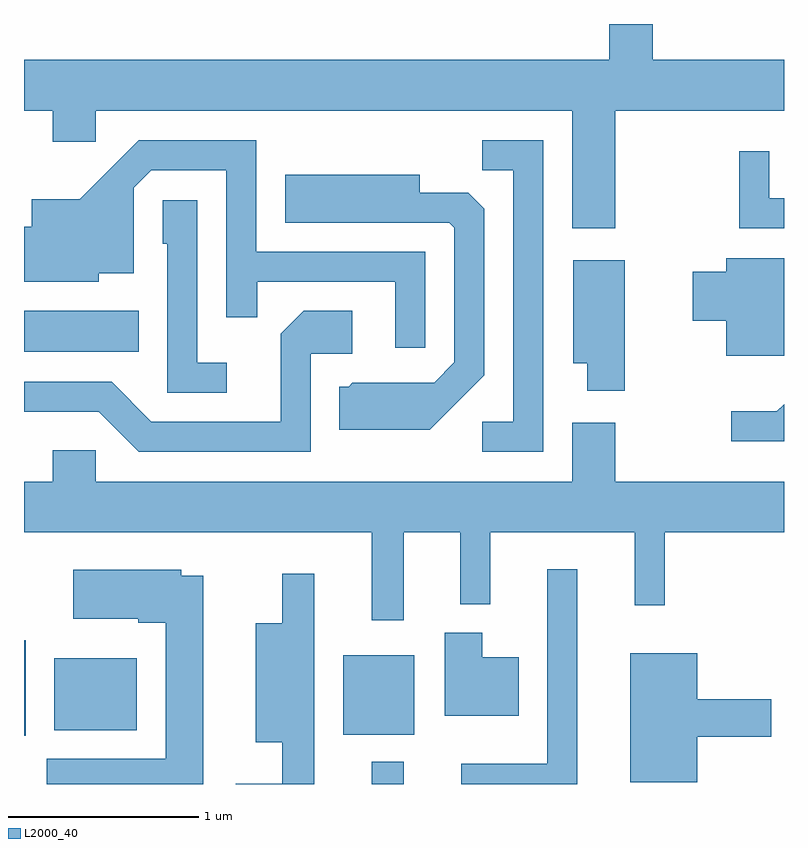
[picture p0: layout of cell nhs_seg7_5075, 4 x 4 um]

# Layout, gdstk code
import gdstk
lib = gdstk.Library(unit=1e-6, precision=1e-09)
def R(c, l, rs):  # rectangles x0, y0, x1, y1
    for r in rs: c.add(gdstk.rectangle(r[:2], r[2:], *l))
def P(c, l, *ps):  # polygons
    for p in ps: c.add(gdstk.Polygon(p, *l))
L2000_40 = (2000, 40)

nhs_seg7_5075 = lib.new_cell('nhs_seg7_5075')
R(nhs_seg7_5075, L2000_40, [(341.441,1786.252,341.609,1786.368), (339.611,1786.506,339.619,1787.009), (341.291,1786.511,341.664,1786.929), (339.771,1786.536,340.204,1786.914), (339.611,1788.526,340.214,1788.744)])
P(nhs_seg7_5075, L2000_40, [(342.724,1789.796),(343.611,1789.796),(343.611,1790.064),(342.919,1790.064),(342.919,1790.252),(342.691,1790.252),(342.691,1790.064),(339.611,1790.064),(339.611,1789.796),(339.761,1789.796),(339.761,1789.631),(339.989,1789.631),(339.989,1789.796),(342.496,1789.796),(342.496,1789.176),(342.724,1789.176)],
  [(342.344,1789.639),(342.023,1789.639),(342.023,1789.481),(342.186,1789.481),(342.186,1788.159),(342.023,1788.159),(342.023,1788.001),(342.344,1788.001)],
  [(341.724,1789.054),(340.834,1789.054),(340.834,1789.639),(340.214,1789.639),(339.904,1789.329),(339.651,1789.329),(339.651,1789.184),(339.611,1789.184),(339.611,1788.896),(340.004,1788.896),(340.004,1788.941),(340.189,1788.941),(340.189,1789.389),(340.282,1789.481),(340.676,1789.481),(340.676,1788.708),(340.839,1788.708),(340.839,1788.896),(341.566,1788.896),(341.566,1788.548),(341.724,1788.548)],
  [(343.611,1789.334),(343.534,1789.334),(343.534,1789.583),(343.376,1789.583),(343.376,1789.176),(343.611,1789.176)],
  [(342.034,1788.404),(342.034,1789.279),(341.949,1789.364),(341.694,1789.364),(341.694,1789.459),(340.986,1789.459),(340.986,1789.206),(341.849,1789.206),(341.876,1789.179),(341.876,1788.472),(341.769,1788.364),(341.339,1788.364),(341.319,1788.344),(341.271,1788.344),(341.271,1788.116),(341.747,1788.116)],
  [(340.678,1788.469),(340.524,1788.469),(340.524,1789.324),(340.341,1789.324),(340.341,1789.096),(340.366,1789.096),(340.366,1788.311),(340.678,1788.311)],
  [(343.611,1789.019),(343.306,1789.019),(343.306,1788.949),(343.131,1788.949),(343.131,1788.691),(343.306,1788.691),(343.306,1788.506),(343.611,1788.506)],
  [(342.774,1789.009),(342.501,1789.009),(342.501,1788.466),(342.576,1788.466),(342.576,1788.321),(342.774,1788.321)],
  [(341.119,1788.516),(341.339,1788.516),(341.339,1788.744),(341.084,1788.744),(340.961,1788.622),(340.961,1788.159),(340.282,1788.159),(340.072,1788.369),(339.611,1788.369),(339.611,1788.211),(340.004,1788.211),(340.214,1788.001),(341.119,1788.001)],
  [(343.611,1788.251),(343.574,1788.214),(343.333,1788.214),(343.333,1788.056),(343.611,1788.056)],
  [(341.609,1787.576),(341.906,1787.576),(341.906,1787.198),(342.064,1787.198),(342.064,1787.576),(342.826,1787.576),(342.826,1787.193),(342.984,1787.193),(342.984,1787.576),(343.611,1787.576),(343.611,1787.844),(342.724,1787.844),(342.724,1788.154),(342.496,1788.154),(342.496,1787.844),(339.989,1787.844),(339.989,1788.009),(339.761,1788.009),(339.761,1787.844),(339.611,1787.844),(339.611,1787.576),(341.441,1787.576),(341.441,1787.113),(341.609,1787.113)],
  [(342.524,1787.383),(342.366,1787.383),(342.366,1786.359),(341.911,1786.359),(341.911,1786.252),(342.524,1786.252)],
  [(340.554,1787.349),(340.439,1787.349),(340.439,1787.379),(339.871,1787.379),(339.871,1787.121),(340.211,1787.121),(340.211,1787.101),(340.356,1787.101),(340.356,1786.384),(339.731,1786.384),(339.731,1786.252),(340.554,1786.252)],
  [(341.139,1787.358),(340.971,1787.358),(340.971,1787.099),(340.831,1787.099),(340.831,1786.471),(340.971,1786.471),(340.971,1786.254),(340.726,1786.254),(340.726,1786.252),(341.139,1786.252)],
  [(342.214,1786.919),(342.024,1786.919),(342.024,1787.049),(341.826,1787.049),(341.826,1786.611),(342.214,1786.611)],
  [(343.154,1786.501),(343.544,1786.501),(343.544,1786.699),(343.154,1786.699),(343.154,1786.939),(342.801,1786.939),(342.801,1786.261),(343.154,1786.261)])

lib.write_gds('nhs_seg7_5075.gds')
